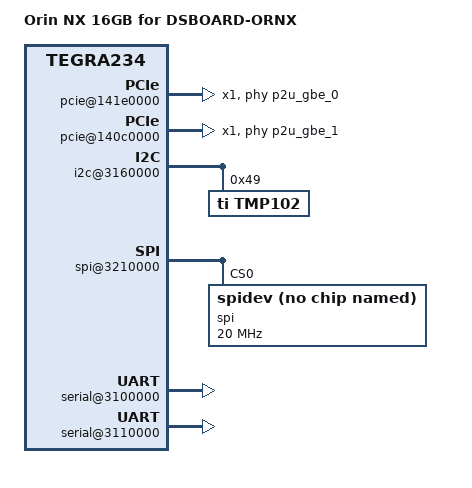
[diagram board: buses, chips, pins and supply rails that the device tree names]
/*
 * Top level DTS file for CVM:P3767-0000 and CVB:DSBOARD-ORNX.
 *
 * Copyright (c) 2021-2022, NVIDIA CORPORATION.  All rights reserved.
 *
 * This program is free software; you can redistribute it and/or modify
 * it under the terms of the GNU General Public License as published by
 * the Free Software Foundation; version 2 of the License.
 *
 * This program is distributed in the hope that it will be useful, but WITHOUT
 * ANY WARRANTY; without even the implied warranty of MERCHANTABILITY or
 * FITNESS FOR A PARTICULAR PURPOSE.  See the GNU General Public License for
 * more details.
 */

/dts-v1/;
#include "tegra234-dcb-p3767-0000-hdmi.dtsi"
#include <tegra234-soc/mods-simple-bus.dtsi>
#include <t234-common-cvm/tegra234-thermal.dtsi>
#include <t234-common-cvm/tegra234-cpuidle.dtsi>
#include <t234-common-cvm/tegra234-thermal-cooling.dtsi>
#include <t234-common-cvm/tegra234-thermal-userspace-alert.dtsi>
#include "cvm/tegra234-p3767-0000.dtsi"
#include "cvb/tegra234-p3768-0000-a0-ornx.dtsi"

/ {
	nvidia,dtsfilename = __FILE__;
	nvidia,dtbbuildtime = __DATE__, __TIME__;
	compatible = "nvidia,p3768-0000+p3767-0000", "nvidia,tegra234", "nvidia,tegra23x";
	model = "Orin NX 16GB for DSBOARD-ORNX";

	fixed-regulators {
		regulator@102 { //p3768_vdd_1v8
			//vin-supply = <&p3768_vdd_3v3_sys>;
			/delete-property/ vin-supply;
		};
	};

	pcie@141e0000 { /* C7x1 node */
		status = "okay";
		num-lanes = <1>;
		phys = <&p2u_gbe_0>;
		phy-names = "p2u-0";
	};

	pcie@140c0000 { /* C9x1 node */
		status = "okay";
		num-lanes = <1>;
		phys = <&p2u_gbe_1>;
		phy-names = "p2u-0";
	};

	i2c@3160000 {
		tmp102: tmp102@49 { // Temperature Sensor
			compatible = "ti,tmp102";
			reg = <0x49>;
			#thermal-sensor-cells = <0>;
		};
	};

	spi@3210000{ // SPI0 with CS0 on expansion connector
		status = "okay";
		nvidia,clock-always-on;
		spi@0 {
			status = "okay";
			compatible = "spidev";
			reg = <0x0>;
			spi-max-frequency = <20000000>;
			nvidia,enable-hw-based-cs;
			nvidia,enable-hw-based-cs;
			nvidia,cs-setup-clk-count = <0x1e>;
			nvidia,cs-hold-clk-count = <0x1e>;
			nvidia,rx-clk-tap-delay = <0x1f>;
			nvidia,tx-clk-tap-delay = <0x0>;
		};
	};


	serial@3100000 { // UART1 (uarta) RS422
		status = "okay";
	};

	serial@3110000 { // UART0 (uartb) RS232
		status = "okay";
	};

};
